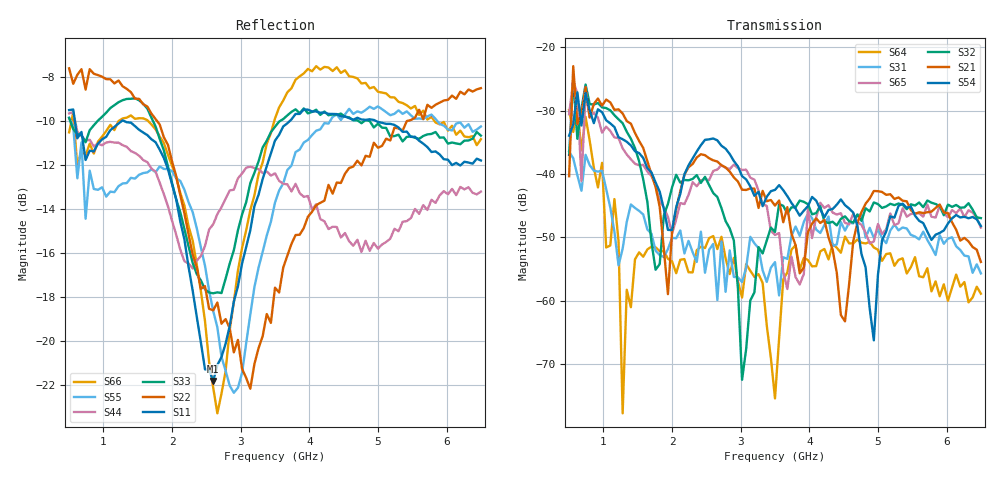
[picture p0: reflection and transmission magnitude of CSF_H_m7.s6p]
!Keysight Technologies,M9804A,MY58100912,A.14.10.03
!Date: Thursday, April 27, 2023 10:28:33
!Correction: S11(C  6-Port  )
!S12(C  6-Port  )
!S13(C  6-Port  )
!S14(C  6-Port  )
!S15(C  6-Port  )
!S16(C  6-Port  )
!S21(C  6-Port  )
!S22(C  6-Port  )
!S23(C  6-Port  )
!S24(C  6-Port  )
!S25(C  6-Port  )
!S26(C  6-Port  )
!S31(C  6-Port  )
!S32(C  6-Port  )
!S33(C  6-Port  )
!S34(C  6-Port  )
!S35(C  6-Port  )
!S36(C  6-Port  )
!S41(C  6-Port  )
!S42(C  6-Port  )
!S43(C  6-Port  )
!S44(C  6-Port  )
!S45(C  6-Port  )
!S46(C  6-Port  )
!S51(C  6-Port  )
!S52(C  6-Port  )
!S53(C  6-Port  )
!S54(C  6-Port  )
!S55(C  6-Port  )
!S56(C  6-Port  )
!S61(C  6-Port  )
!S62(C  6-Port  )
!S63(C  6-Port  )
!S64(C  6-Port  )
!S65(C  6-Port  )
!S66(C  6-Port  )
!S6P File: Measurement: :
# Hz S  RI  R 50
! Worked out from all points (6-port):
!   101 points, 500 MHz to 6.5 GHz, reference 50 ohm
!   strongest paths, dB at 500 MHz, 2 GHz, 3.5 GHz, 5 GHz, 6.5 GHz:
!     S54: -33.9, -48.8, -42.5, -55.9, -48.2
!     S21: -40.3, -49.1, -45.0, -42.7, -53.9
!     S32: -37.0, -42.1, -49.1, -44.7, -47.0
!     S65: -30.6, -49.4, -49.6, -47.9, -48.4
!     S31: -36.4, -50.1, -53.9, -48.7, -55.7
!     S64: -29.9, -53.8, -75.4, -51.9, -58.9
!   lowest |S11| = -21.8 dB at 2.6 GHz (marker M1), VSWR 1.18, Z = 42.7 + j1.89 ohm
!   |S11| at or under -10 dB: 583.2 MHz to 1.274 GHz (690.8 MHz wide, 74.4 % of centre); 1.29 GHz to 3.72 GHz (2.43 GHz wide, 97 % of centre); 4.961 GHz to end of sweep
